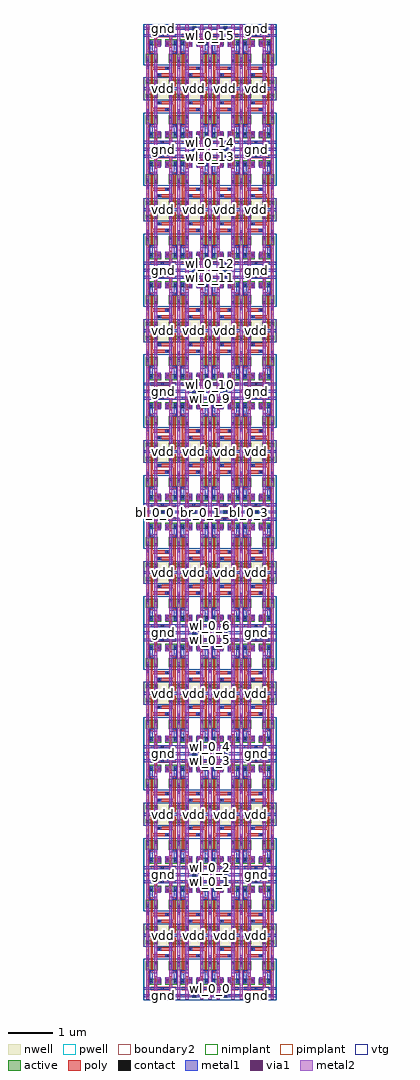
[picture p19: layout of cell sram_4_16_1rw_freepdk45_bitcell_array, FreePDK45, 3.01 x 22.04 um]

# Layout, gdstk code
import gdstk
lib = gdstk.Library(unit=1e-6, precision=5e-10)
def R(c, l, rs):  # rectangles x0, y0, x1, y1
    for r in rs: c.add(gdstk.rectangle(r[:2], r[2:], *l))
def A(c, l, x, y, w, h, nx, ny, dx, dy):  # array of equal rectangles
    R(c, l, [(x+i*dx, y+j*dy, x+i*dx+w, y+j*dy+h) for i in range(nx) for j in range(ny)])
active = (1, 0)
pwell = (2, 0)
nwell = (3, 0)
nimplant = (4, 0)
pimplant = (5, 0)
vtg = (6, 0)
poly = (9, 0)
contact = (10, 0)
metal1 = (11, 0)
via1 = (12, 0)
metal2 = (13, 0)
boundary2 = (239, 0)

cell_1rw = lib.new_cell('cell_1rw')
R(cell_1rw, active, [(0.3025,-0.045,0.3925,0.045), (0.3025,-0.045,0.3925,0.045), (0.045,0.2475,0.12,0.3825), (0.045,0.2475,0.12,0.3825), (0.045,0.2475,0.305,0.3825), (0.23,0.2475,0.305,0.3825), (0.23,0.2475,0.305,0.3825), (0.4,0.2475,0.475,0.3825), (0.4,0.2475,0.475,0.3825), (0.4,0.2475,0.66,0.3825), (0.585,0.2475,0.66,0.3825), (0.585,0.2475,0.66,0.3825), (0.045,0.3075,0.12,0.3825), (0.23,0.3075,0.305,0.3825), (0.4,0.3075,0.475,0.3825), (0.585,0.3075,0.66,0.3825), (-0.04,0.5675,0.225,0.7725), (-0.035,0.5675,0.04,0.7725), (-0.035,0.5675,0.04,0.7725), (0.15,0.5675,0.225,0.7725), (0.15,0.5675,0.225,0.7725), (0.48,0.5675,0.555,0.7725), (0.48,0.5675,0.555,0.7725), (0.48,0.5675,0.745,0.7725), (0.665,0.5675,0.74,0.7725), (0.665,0.5675,0.74,0.7725), (-0.035,0.6975,0.04,0.7725), (0.15,0.6975,0.225,0.7725), (0.48,0.6975,0.555,0.7725), (0.665,0.6975,0.74,0.7725), (-0.04,1.1625,0.225,1.2525), (-0.04,1.1625,0.04,1.2375), (-0.035,1.1625,0.04,1.2525), (-0.035,1.1625,0.04,1.2525), (0.15,1.1625,0.225,1.2375), (0.15,1.1625,0.225,1.2525), (0.15,1.1625,0.225,1.2525), (0.48,1.1625,0.555,1.2375), (0.48,1.1625,0.555,1.2525), (0.48,1.1625,0.555,1.2525), (0.48,1.1625,0.745,1.2525), (0.665,1.1625,0.74,1.2525), (0.665,1.1625,0.74,1.2525), (0.665,1.1625,0.745,1.2375), (0.3025,1.32,0.3925,1.41), (0.3025,1.32,0.3925,1.41)])
R(cell_1rw, pwell, [(-0.095,-0.1,0.8,0.8275), (0.2475,-0.1,0.4475,0.1), (0.2475,-0.08,0.4475,0.12), (-0.01,0.1925,0.36,0.4375), (0.345,0.1925,0.715,0.4375), (-0.09,0.5125,0.28,0.8275), (0.425,0.5125,0.795,0.8275)])
R(cell_1rw, nwell, [(-0.095,1.1075,0.8,1.465), (-0.09,1.1075,0.28,1.3075), (0.425,1.1075,0.795,1.3075), (0.2475,1.265,0.4475,1.465), (0.2475,1.265,0.4475,1.465)])
R(cell_1rw, nimplant, [(0.045,0.2475,0.305,0.3825), (0.4,0.2475,0.66,0.3825), (-0.035,0.5675,0.225,0.7725), (0.48,0.5675,0.74,0.7725), (0.3025,1.32,0.3925,1.41), (0.3025,1.32,0.3925,1.41)])
R(cell_1rw, pimplant, [(0.3025,-0.045,0.3925,0.045), (-0.035,1.1625,0.225,1.2525), (0.48,1.1625,0.74,1.2525)])
R(cell_1rw, vtg, [(-0.09,-0.1,0.795,0.8275), (-0.01,0.1925,0.36,0.4375), (0.345,0.1925,0.715,0.4375), (-0.09,0.5125,0.28,0.8275), (0.425,0.5125,0.795,0.8275), (-0.09,1.1075,0.795,1.465), (-0.09,1.1075,0.28,1.3075), (0.425,1.1075,0.795,1.3075)])
R(cell_1rw, poly, [(0.07,0.1225,0.635,0.1975), (0.2975,0.1225,0.3725,0.1975), (0.15,0.1925,0.2,0.4375), (0.15,0.1925,0.2,0.2475), (0.505,0.1925,0.555,0.4375), (0.505,0.1925,0.555,0.2475), (0.15,0.3825,0.2,0.4375), (0.505,0.3825,0.555,0.4375), (0.07,0.5125,0.12,0.5675), (0.07,0.5125,0.12,0.8275), (0.585,0.5125,0.635,0.5675), (0.585,0.5125,0.635,0.8275), (0.07,0.7725,0.12,0.8275), (0.585,0.7725,0.635,0.8275), (0.07,0.8275,0.12,1.1075), (0.07,0.8275,0.12,1.1075), (0.585,0.8275,0.635,1.1075), (0.585,0.8275,0.635,1.1075), (0.07,0.8625,0.5025,0.9375), (0.4275,0.8625,0.5025,0.9375), (0.4275,0.8625,0.5025,0.9375), (0.2025,1.0125,0.635,1.0875), (0.2025,1.0125,0.2775,1.0875), (0.2025,1.0125,0.2775,1.0875), (0.07,1.1075,0.12,1.1625), (0.07,1.1075,0.12,1.3075), (0.585,1.1075,0.635,1.1625), (0.585,1.1075,0.635,1.3075), (0.07,1.2525,0.12,1.3075), (0.585,1.2525,0.635,1.3075)])
R(cell_1rw, contact, [(0.315,-0.0325,0.38,0.0325), (0.3025,0.1275,0.3675,0.1925), (0.05,0.3125,0.115,0.3775), (0.235,0.3125,0.3,0.3775), (0.405,0.3125,0.47,0.3775), (0.59,0.3125,0.655,0.3775), (-0.0325,0.7025,0.0325,0.7675), (0.155,0.7025,0.22,0.7675), (0.485,0.7025,0.55,0.7675), (0.6725,0.7025,0.7375,0.7675), (0.4325,0.8675,0.4975,0.9325), (0.4325,0.8675,0.4975,0.9325), (0.2075,1.0175,0.2725,1.0825), (0.2075,1.0175,0.2725,1.0825), (-0.0325,1.1675,0.0325,1.2325), (0.155,1.1675,0.22,1.2325), (0.485,1.1675,0.55,1.2325), (0.6725,1.1675,0.7375,1.2325), (0.315,1.3325,0.38,1.3975)])
R(cell_1rw, metal1, [(-0.09,-0.0325,0.795,0.0325), (-0.09,-0.0325,0.795,0.0325), (-0.09,0.1275,0.795,0.1925), (-0.09,0.1275,0.795,0.1925), (0.2675,0.1275,0.4025,0.1925), (-0.085,0.13,-0.0325,0.1925), (0.62,0.13,0.6725,0.1925), (0.05,0.2775,0.12,0.5675), (0.05,0.2775,0.115,0.4125), (0.2225,0.2775,0.2875,0.4125), (0.235,0.2775,0.3,0.4125), (0.405,0.2775,0.47,0.4125), (0.4175,0.2775,0.4825,0.4125), (0.59,0.2775,0.66,0.5675), (0.59,0.2775,0.655,0.4125), (0.05,0.5025,0.22,0.5675), (0.155,0.5025,0.22,1.2425), (0.485,0.5025,0.55,1.1325), (0.485,0.5025,0.66,0.5675), (-0.035,0.6675,0.035,0.8025), (-0.035,0.6675,0.035,0.8025), (-0.03,0.6675,0.035,0.8025), (0.155,0.6675,0.22,0.8025), (0.485,0.6675,0.55,0.8025), (0.67,0.6675,0.74,0.8025), (0.67,0.6675,0.74,0.8025), (0.67,0.6675,0.74,0.8025), (0.67,0.6675,0.74,0.8025), (0.67,0.6675,0.74,0.8025), (0.67,0.6675,0.74,0.8025), (0.67,0.6675,0.735,0.8025), (-0.0325,0.77,0.0325,0.905), (-0.0325,0.77,0.0325,0.905), (-0.0325,0.77,0.0325,0.905), (-0.0325,0.77,0.0325,0.905), (-0.0325,0.77,0.0325,0.905), (-0.0325,0.77,0.0325,0.905), (0.6725,0.77,0.7375,0.905), (0.6725,0.77,0.7375,0.905), (0.6725,0.77,0.7375,0.905), (0.6725,0.77,0.7375,0.905), (0.6725,0.77,0.7375,0.905), (0.6725,0.77,0.7375,0.905), (0.6725,0.77,0.7375,0.905), (0.6725,0.77,0.7375,0.905), (0.6725,0.77,0.7375,0.905), (0.6725,0.77,0.7375,0.905), (0.6725,0.77,0.7375,0.905), (0.6725,0.77,0.7375,0.905), (0.6725,0.77,0.7375,0.905), (0.6725,0.77,0.7375,0.905), (0.6725,0.77,0.7375,0.905), (0.6725,0.77,0.7375,0.905), (0.6725,0.77,0.7375,0.905), (0.6725,0.77,0.7375,0.905), (0.6725,0.77,0.7375,0.905), (0.6725,0.77,0.7375,0.905), (0.6725,0.77,0.7375,0.905), (0.6725,0.77,0.7375,0.905), (0.6725,0.77,0.7375,0.905), (0.6725,0.77,0.7375,0.905), (0.3975,0.8675,0.5325,0.9325), (0.3975,0.8675,0.5325,0.9325), (0.1725,1.0175,0.3075,1.0825), (0.1725,1.0175,0.3075,1.0825), (-0.035,1.1325,0.035,1.3325), (-0.03,1.1325,0.035,1.2675), (0.155,1.1325,0.22,1.2675), (0.485,1.1325,0.55,1.2675), (0.67,1.1325,0.74,1.3325), (0.67,1.1325,0.74,1.3325), (0.67,1.1325,0.735,1.2675), (-0.09,1.3325,0.795,1.3975), (-0.09,1.3325,0.795,1.3975)])
R(cell_1rw, via1, [(-0.0325,-0.0325,0.0325,0.0325), (-0.0325,-0.0325,0.0325,0.0325), (0.6725,-0.0325,0.7375,0.0325), (0.6725,-0.0325,0.7375,0.0325), (0.6725,-0.0325,0.7375,0.0325), (0.6725,-0.0325,0.7375,0.0325), (0.2225,0.3125,0.2875,0.3775), (0.4175,0.3125,0.4825,0.3775), (-0.0325,0.805,0.0325,0.87), (-0.0325,0.805,0.0325,0.87), (-0.0325,0.805,0.0325,0.87), (-0.0325,0.805,0.0325,0.87), (-0.0325,0.805,0.0325,0.87), (-0.0325,0.805,0.0325,0.87), (0.6725,0.805,0.7375,0.87), (0.6725,0.805,0.7375,0.87), (0.6725,0.805,0.7375,0.87), (0.6725,0.805,0.7375,0.87), (0.6725,0.805,0.7375,0.87), (0.6725,0.805,0.7375,0.87), (0.6725,0.805,0.7375,0.87), (0.6725,0.805,0.7375,0.87), (0.6725,0.805,0.7375,0.87), (0.6725,0.805,0.7375,0.87), (0.6725,0.805,0.7375,0.87), (0.6725,0.805,0.7375,0.87), (0.6725,0.805,0.7375,0.87), (0.6725,0.805,0.7375,0.87), (0.6725,0.805,0.7375,0.87), (0.6725,0.805,0.7375,0.87), (0.6725,0.805,0.7375,0.87), (0.6725,0.805,0.7375,0.87), (0.6725,0.805,0.7375,0.87), (0.6725,0.805,0.7375,0.87), (0.6725,0.805,0.7375,0.87), (0.6725,0.805,0.7375,0.87), (0.6725,0.805,0.7375,0.87), (0.6725,0.805,0.7375,0.87)])
R(cell_1rw, metal2, [(-0.035,-0.08,0.035,1.465), (0.15,-0.08,0.22,1.465), (0.15,-0.08,0.22,1.465), (0.485,-0.08,0.555,1.465), (0.485,-0.08,0.555,1.465), (0.67,-0.08,0.74,1.465), (0.4925,-0.0325,0.55,0.0275), (-0.03,-0.03,0.03,0.0275), (0.1575,-0.025,0.2125,0.0275), (0.675,-0.025,0.735,0.0325), (0.67,-0.0125,0.74,1.3975), (0.22,0.2775,0.29,0.4125), (0.415,0.2775,0.485,0.4125), (-0.035,0.77,0.035,0.905), (-0.035,0.77,0.035,0.905), (-0.035,0.77,0.035,0.905), (-0.035,0.77,0.035,0.905), (-0.035,0.77,0.035,0.905), (-0.035,0.77,0.035,0.905), (0.67,0.77,0.74,0.905), (0.67,0.77,0.74,0.905), (0.67,0.77,0.74,0.905), (0.67,0.77,0.74,0.905), (0.67,0.77,0.74,0.905), (0.67,0.77,0.74,0.905), (0.67,0.77,0.74,0.905), (0.67,0.77,0.74,0.905), (0.67,0.77,0.74,0.905), (0.67,0.77,0.74,0.905), (0.67,0.77,0.74,0.905), (0.67,0.77,0.74,0.905), (0.67,0.77,0.74,0.905), (0.67,0.77,0.74,0.905), (0.67,0.77,0.74,0.905), (0.67,0.77,0.74,0.905), (0.67,0.77,0.74,0.905), (0.67,0.77,0.74,0.905), (0.67,0.77,0.74,0.905), (0.67,0.77,0.74,0.905), (0.67,0.77,0.74,0.905), (0.67,0.77,0.74,0.905), (0.67,0.77,0.74,0.905), (0.67,0.77,0.74,0.905)])
R(cell_1rw, boundary2, [(0,0.02,0.705,1.365)])
cell_1rw.add(gdstk.Label('gnd', (0.345,0), layer=11, texttype=0))
cell_1rw.add(gdstk.Label('vdd', (0.345,1.365), layer=11, texttype=0))
cell_1rw.add(gdstk.Label('Q_bar', (0.625,0.48), layer=11, texttype=0))
cell_1rw.add(gdstk.Label('Q', (0.0825,0.46), layer=11, texttype=0))
cell_1rw.add(gdstk.Label('wl', (-0.05,0.167), layer=11, texttype=0))
cell_1rw.add(gdstk.Label('bl', (0.19,0.003), layer=13, texttype=0))
cell_1rw.add(gdstk.Label('br', (0.52,0.003), layer=13, texttype=0))
cell_1rw.add(gdstk.Label('bl', (0.185,0.6925), layer=13, texttype=0))
cell_1rw.add(gdstk.Label('br', (0.52,0.6925), layer=13, texttype=0))
cell_1rw.add(gdstk.Label('wl', (0.3525,0.16), layer=11, texttype=0))
cell_1rw.add(gdstk.Label('vdd', (0.3525,1.365), layer=11, texttype=0))
cell_1rw.add(gdstk.Label('gnd', (0.3525,0), layer=11, texttype=0))

sram_4_16_1rw_freepdk45_ = lib.new_cell('sram_4_16_1rw_freepdk45_bitcell_array')
A(sram_4_16_1rw_freepdk45_, metal1, -0.09, -0.0325, 0.885, 0.065, 4, 17, 0.705, 1.365)
R(sram_4_16_1rw_freepdk45_, metal1, [(0,0.1275,2.82,0.1925), (0,2.5375,2.82,2.6025), (0,2.8575,2.82,2.9225), (0,5.2675,2.82,5.3325), (0,5.5875,2.82,5.6525), (0,7.9975,2.82,8.0625), (0,8.3175,2.82,8.3825), (0,10.7275,2.82,10.7925), (0,11.0475,2.82,11.1125), (0,13.4575,2.82,13.5225), (0,13.7775,2.82,13.8425), (0,16.1875,2.82,16.2525), (0,16.5075,2.82,16.5725), (0,18.9175,2.82,18.9825), (0,19.2375,2.82,19.3025), (0,21.6475,2.82,21.7125)])
R(sram_4_16_1rw_freepdk45_, metal2, [(0.15,0,0.22,21.84), (0.485,0,0.555,21.84), (0.855,0,0.925,21.84), (1.19,0,1.26,21.84), (1.56,0,1.63,21.84), (1.895,0,1.965,21.84), (2.265,0,2.335,21.84), (2.6,0,2.67,21.84)])
R(sram_4_16_1rw_freepdk45_, boundary2, [(0,0,2.82,21.84)])
sram_4_16_1rw_freepdk45_.add(gdstk.Reference(cell_1rw, (0,0)))
sram_4_16_1rw_freepdk45_.add(gdstk.Reference(cell_1rw, (0,2.73), x_reflection=True))
sram_4_16_1rw_freepdk45_.add(gdstk.Reference(cell_1rw, (0,2.73)))
sram_4_16_1rw_freepdk45_.add(gdstk.Reference(cell_1rw, (0,5.46), x_reflection=True))
sram_4_16_1rw_freepdk45_.add(gdstk.Reference(cell_1rw, (0,5.46)))
sram_4_16_1rw_freepdk45_.add(gdstk.Reference(cell_1rw, (0,8.19), x_reflection=True))
sram_4_16_1rw_freepdk45_.add(gdstk.Reference(cell_1rw, (0,8.19)))
sram_4_16_1rw_freepdk45_.add(gdstk.Reference(cell_1rw, (0,10.92), x_reflection=True))
sram_4_16_1rw_freepdk45_.add(gdstk.Reference(cell_1rw, (0,10.92)))
sram_4_16_1rw_freepdk45_.add(gdstk.Reference(cell_1rw, (0,13.65), x_reflection=True))
sram_4_16_1rw_freepdk45_.add(gdstk.Reference(cell_1rw, (0,13.65)))
sram_4_16_1rw_freepdk45_.add(gdstk.Reference(cell_1rw, (0,16.38), x_reflection=True))
sram_4_16_1rw_freepdk45_.add(gdstk.Reference(cell_1rw, (0,16.38)))
sram_4_16_1rw_freepdk45_.add(gdstk.Reference(cell_1rw, (0,19.11), x_reflection=True))
sram_4_16_1rw_freepdk45_.add(gdstk.Reference(cell_1rw, (0,19.11)))
sram_4_16_1rw_freepdk45_.add(gdstk.Reference(cell_1rw, (0,21.84), x_reflection=True))
sram_4_16_1rw_freepdk45_.add(gdstk.Reference(cell_1rw, (0.705,0)))
sram_4_16_1rw_freepdk45_.add(gdstk.Reference(cell_1rw, (0.705,2.73), x_reflection=True))
sram_4_16_1rw_freepdk45_.add(gdstk.Reference(cell_1rw, (0.705,2.73)))
sram_4_16_1rw_freepdk45_.add(gdstk.Reference(cell_1rw, (0.705,5.46), x_reflection=True))
sram_4_16_1rw_freepdk45_.add(gdstk.Reference(cell_1rw, (0.705,5.46)))
sram_4_16_1rw_freepdk45_.add(gdstk.Reference(cell_1rw, (0.705,8.19), x_reflection=True))
sram_4_16_1rw_freepdk45_.add(gdstk.Reference(cell_1rw, (0.705,8.19)))
sram_4_16_1rw_freepdk45_.add(gdstk.Reference(cell_1rw, (0.705,10.92), x_reflection=True))
sram_4_16_1rw_freepdk45_.add(gdstk.Reference(cell_1rw, (0.705,10.92)))
sram_4_16_1rw_freepdk45_.add(gdstk.Reference(cell_1rw, (0.705,13.65), x_reflection=True))
sram_4_16_1rw_freepdk45_.add(gdstk.Reference(cell_1rw, (0.705,13.65)))
sram_4_16_1rw_freepdk45_.add(gdstk.Reference(cell_1rw, (0.705,16.38), x_reflection=True))
sram_4_16_1rw_freepdk45_.add(gdstk.Reference(cell_1rw, (0.705,16.38)))
sram_4_16_1rw_freepdk45_.add(gdstk.Reference(cell_1rw, (0.705,19.11), x_reflection=True))
sram_4_16_1rw_freepdk45_.add(gdstk.Reference(cell_1rw, (0.705,19.11)))
sram_4_16_1rw_freepdk45_.add(gdstk.Reference(cell_1rw, (0.705,21.84), x_reflection=True))
sram_4_16_1rw_freepdk45_.add(gdstk.Reference(cell_1rw, (1.41,0)))
sram_4_16_1rw_freepdk45_.add(gdstk.Reference(cell_1rw, (1.41,2.73), x_reflection=True))
sram_4_16_1rw_freepdk45_.add(gdstk.Reference(cell_1rw, (1.41,2.73)))
sram_4_16_1rw_freepdk45_.add(gdstk.Reference(cell_1rw, (1.41,5.46), x_reflection=True))
sram_4_16_1rw_freepdk45_.add(gdstk.Reference(cell_1rw, (1.41,5.46)))
sram_4_16_1rw_freepdk45_.add(gdstk.Reference(cell_1rw, (1.41,8.19), x_reflection=True))
sram_4_16_1rw_freepdk45_.add(gdstk.Reference(cell_1rw, (1.41,8.19)))
sram_4_16_1rw_freepdk45_.add(gdstk.Reference(cell_1rw, (1.41,10.92), x_reflection=True))
sram_4_16_1rw_freepdk45_.add(gdstk.Reference(cell_1rw, (1.41,10.92)))
sram_4_16_1rw_freepdk45_.add(gdstk.Reference(cell_1rw, (1.41,13.65), x_reflection=True))
sram_4_16_1rw_freepdk45_.add(gdstk.Reference(cell_1rw, (1.41,13.65)))
sram_4_16_1rw_freepdk45_.add(gdstk.Reference(cell_1rw, (1.41,16.38), x_reflection=True))
sram_4_16_1rw_freepdk45_.add(gdstk.Reference(cell_1rw, (1.41,16.38)))
sram_4_16_1rw_freepdk45_.add(gdstk.Reference(cell_1rw, (1.41,19.11), x_reflection=True))
sram_4_16_1rw_freepdk45_.add(gdstk.Reference(cell_1rw, (1.41,19.11)))
sram_4_16_1rw_freepdk45_.add(gdstk.Reference(cell_1rw, (1.41,21.84), x_reflection=True))
sram_4_16_1rw_freepdk45_.add(gdstk.Reference(cell_1rw, (2.115,0)))
sram_4_16_1rw_freepdk45_.add(gdstk.Reference(cell_1rw, (2.115,2.73), x_reflection=True))
sram_4_16_1rw_freepdk45_.add(gdstk.Reference(cell_1rw, (2.115,2.73)))
sram_4_16_1rw_freepdk45_.add(gdstk.Reference(cell_1rw, (2.115,5.46), x_reflection=True))
sram_4_16_1rw_freepdk45_.add(gdstk.Reference(cell_1rw, (2.115,5.46)))
sram_4_16_1rw_freepdk45_.add(gdstk.Reference(cell_1rw, (2.115,8.19), x_reflection=True))
sram_4_16_1rw_freepdk45_.add(gdstk.Reference(cell_1rw, (2.115,8.19)))
sram_4_16_1rw_freepdk45_.add(gdstk.Reference(cell_1rw, (2.115,10.92), x_reflection=True))
sram_4_16_1rw_freepdk45_.add(gdstk.Reference(cell_1rw, (2.115,10.92)))
sram_4_16_1rw_freepdk45_.add(gdstk.Reference(cell_1rw, (2.115,13.65), x_reflection=True))
sram_4_16_1rw_freepdk45_.add(gdstk.Reference(cell_1rw, (2.115,13.65)))
sram_4_16_1rw_freepdk45_.add(gdstk.Reference(cell_1rw, (2.115,16.38), x_reflection=True))
sram_4_16_1rw_freepdk45_.add(gdstk.Reference(cell_1rw, (2.115,16.38)))
sram_4_16_1rw_freepdk45_.add(gdstk.Reference(cell_1rw, (2.115,19.11), x_reflection=True))
sram_4_16_1rw_freepdk45_.add(gdstk.Reference(cell_1rw, (2.115,19.11)))
sram_4_16_1rw_freepdk45_.add(gdstk.Reference(cell_1rw, (2.115,21.84), x_reflection=True))
sram_4_16_1rw_freepdk45_.add(gdstk.Label('bl_0_0', (0.185,10.92), layer=13, texttype=0))
sram_4_16_1rw_freepdk45_.add(gdstk.Label('br_0_0', (0.52,10.92), layer=13, texttype=0))
sram_4_16_1rw_freepdk45_.add(gdstk.Label('bl_0_1', (0.89,10.92), layer=13, texttype=0))
sram_4_16_1rw_freepdk45_.add(gdstk.Label('br_0_1', (1.225,10.92), layer=13, texttype=0))
sram_4_16_1rw_freepdk45_.add(gdstk.Label('bl_0_2', (1.595,10.92), layer=13, texttype=0))
sram_4_16_1rw_freepdk45_.add(gdstk.Label('br_0_2', (1.93,10.92), layer=13, texttype=0))
sram_4_16_1rw_freepdk45_.add(gdstk.Label('bl_0_3', (2.3,10.92), layer=13, texttype=0))
sram_4_16_1rw_freepdk45_.add(gdstk.Label('br_0_3', (2.635,10.92), layer=13, texttype=0))
sram_4_16_1rw_freepdk45_.add(gdstk.Label('wl_0_0', (1.41,0.16), layer=11, texttype=0))
sram_4_16_1rw_freepdk45_.add(gdstk.Label('wl_0_1', (1.41,2.57), layer=11, texttype=0))
sram_4_16_1rw_freepdk45_.add(gdstk.Label('wl_0_2', (1.41,2.89), layer=11, texttype=0))
sram_4_16_1rw_freepdk45_.add(gdstk.Label('wl_0_3', (1.41,5.3), layer=11, texttype=0))
sram_4_16_1rw_freepdk45_.add(gdstk.Label('wl_0_4', (1.41,5.62), layer=11, texttype=0))
sram_4_16_1rw_freepdk45_.add(gdstk.Label('wl_0_5', (1.41,8.03), layer=11, texttype=0))
sram_4_16_1rw_freepdk45_.add(gdstk.Label('wl_0_6', (1.41,8.35), layer=11, texttype=0))
sram_4_16_1rw_freepdk45_.add(gdstk.Label('wl_0_7', (1.41,10.76), layer=11, texttype=0))
sram_4_16_1rw_freepdk45_.add(gdstk.Label('wl_0_8', (1.41,11.08), layer=11, texttype=0))
sram_4_16_1rw_freepdk45_.add(gdstk.Label('wl_0_9', (1.41,13.49), layer=11, texttype=0))
sram_4_16_1rw_freepdk45_.add(gdstk.Label('wl_0_10', (1.41,13.81), layer=11, texttype=0))
sram_4_16_1rw_freepdk45_.add(gdstk.Label('wl_0_11', (1.41,16.22), layer=11, texttype=0))
sram_4_16_1rw_freepdk45_.add(gdstk.Label('wl_0_12', (1.41,16.54), layer=11, texttype=0))
sram_4_16_1rw_freepdk45_.add(gdstk.Label('wl_0_13', (1.41,18.95), layer=11, texttype=0))
sram_4_16_1rw_freepdk45_.add(gdstk.Label('wl_0_14', (1.41,19.27), layer=11, texttype=0))
sram_4_16_1rw_freepdk45_.add(gdstk.Label('wl_0_15', (1.41,21.68), layer=11, texttype=0))
sram_4_16_1rw_freepdk45_.add(gdstk.Label('vdd', (1.7625,20.475), layer=11, texttype=0))
sram_4_16_1rw_freepdk45_.add(gdstk.Label('vdd', (0.3525,6.825), layer=11, texttype=0))
sram_4_16_1rw_freepdk45_.add(gdstk.Label('vdd', (2.4675,1.365), layer=11, texttype=0))
sram_4_16_1rw_freepdk45_.add(gdstk.Label('vdd', (0.3525,9.555), layer=11, texttype=0))
sram_4_16_1rw_freepdk45_.add(gdstk.Label('vdd', (0.3525,15.015), layer=11, texttype=0))
sram_4_16_1rw_freepdk45_.add(gdstk.Label('vdd', (1.0575,9.555), layer=11, texttype=0))
sram_4_16_1rw_freepdk45_.add(gdstk.Label('vdd', (1.0575,15.015), layer=11, texttype=0))
sram_4_16_1rw_freepdk45_.add(gdstk.Label('vdd', (1.0575,17.745), layer=11, texttype=0))
sram_4_16_1rw_freepdk45_.add(gdstk.Label('vdd', (2.4675,9.555), layer=11, texttype=0))
sram_4_16_1rw_freepdk45_.add(gdstk.Label('vdd', (0.3525,4.095), layer=11, texttype=0))
sram_4_16_1rw_freepdk45_.add(gdstk.Label('vdd', (1.0575,6.825), layer=11, texttype=0))
sram_4_16_1rw_freepdk45_.add(gdstk.Label('vdd', (1.7625,1.365), layer=11, texttype=0))
sram_4_16_1rw_freepdk45_.add(gdstk.Label('vdd', (0.3525,1.365), layer=11, texttype=0))
sram_4_16_1rw_freepdk45_.add(gdstk.Label('vdd', (1.7625,15.015), layer=11, texttype=0))
sram_4_16_1rw_freepdk45_.add(gdstk.Label('vdd', (1.0575,1.365), layer=11, texttype=0))
sram_4_16_1rw_freepdk45_.add(gdstk.Label('vdd', (0.3525,17.745), layer=11, texttype=0))
sram_4_16_1rw_freepdk45_.add(gdstk.Label('vdd', (2.4675,4.095), layer=11, texttype=0))
sram_4_16_1rw_freepdk45_.add(gdstk.Label('vdd', (2.4675,20.475), layer=11, texttype=0))
sram_4_16_1rw_freepdk45_.add(gdstk.Label('vdd', (0.3525,20.475), layer=11, texttype=0))
sram_4_16_1rw_freepdk45_.add(gdstk.Label('vdd', (2.4675,12.285), layer=11, texttype=0))
sram_4_16_1rw_freepdk45_.add(gdstk.Label('vdd', (2.4675,6.825), layer=11, texttype=0))
sram_4_16_1rw_freepdk45_.add(gdstk.Label('vdd', (1.7625,9.555), layer=11, texttype=0))
sram_4_16_1rw_freepdk45_.add(gdstk.Label('vdd', (1.7625,17.745), layer=11, texttype=0))
sram_4_16_1rw_freepdk45_.add(gdstk.Label('vdd', (2.4675,15.015), layer=11, texttype=0))
sram_4_16_1rw_freepdk45_.add(gdstk.Label('vdd', (1.0575,12.285), layer=11, texttype=0))
sram_4_16_1rw_freepdk45_.add(gdstk.Label('vdd', (1.7625,6.825), layer=11, texttype=0))
sram_4_16_1rw_freepdk45_.add(gdstk.Label('vdd', (1.7625,4.095), layer=11, texttype=0))
sram_4_16_1rw_freepdk45_.add(gdstk.Label('vdd', (0.3525,12.285), layer=11, texttype=0))
sram_4_16_1rw_freepdk45_.add(gdstk.Label('vdd', (1.7625,12.285), layer=11, texttype=0))
sram_4_16_1rw_freepdk45_.add(gdstk.Label('vdd', (1.0575,20.475), layer=11, texttype=0))
sram_4_16_1rw_freepdk45_.add(gdstk.Label('vdd', (1.0575,4.095), layer=11, texttype=0))
sram_4_16_1rw_freepdk45_.add(gdstk.Label('vdd', (2.4675,17.745), layer=11, texttype=0))
sram_4_16_1rw_freepdk45_.add(gdstk.Label('gnd', (0.3525,2.73), layer=11, texttype=0))
sram_4_16_1rw_freepdk45_.add(gdstk.Label('gnd', (2.4675,5.46), layer=11, texttype=0))
sram_4_16_1rw_freepdk45_.add(gdstk.Label('gnd', (0.3525,8.19), layer=11, texttype=0))
sram_4_16_1rw_freepdk45_.add(gdstk.Label('gnd', (2.4675,8.19), layer=11, texttype=0))
sram_4_16_1rw_freepdk45_.add(gdstk.Label('gnd', (1.0575,5.46), layer=11, texttype=0))
sram_4_16_1rw_freepdk45_.add(gdstk.Label('gnd', (1.7625,19.11), layer=11, texttype=0))
sram_4_16_1rw_freepdk45_.add(gdstk.Label('gnd', (1.0575,19.11), layer=11, texttype=0))
sram_4_16_1rw_freepdk45_.add(gdstk.Label('gnd', (1.7625,13.65), layer=11, texttype=0))
sram_4_16_1rw_freepdk45_.add(gdstk.Label('gnd', (2.4675,10.92), layer=11, texttype=0))
sram_4_16_1rw_freepdk45_.add(gdstk.Label('gnd', (2.4675,13.65), layer=11, texttype=0))
sram_4_16_1rw_freepdk45_.add(gdstk.Label('gnd', (2.4675,2.73), layer=11, texttype=0))
sram_4_16_1rw_freepdk45_.add(gdstk.Label('gnd', (2.4675,21.84), layer=11, texttype=0))
sram_4_16_1rw_freepdk45_.add(gdstk.Label('gnd', (1.0575,0), layer=11, texttype=0))
sram_4_16_1rw_freepdk45_.add(gdstk.Label('gnd', (2.4675,19.11), layer=11, texttype=0))
sram_4_16_1rw_freepdk45_.add(gdstk.Label('gnd', (1.0575,2.73), layer=11, texttype=0))
sram_4_16_1rw_freepdk45_.add(gdstk.Label('gnd', (1.0575,10.92), layer=11, texttype=0))
sram_4_16_1rw_freepdk45_.add(gdstk.Label('gnd', (1.0575,13.65), layer=11, texttype=0))
sram_4_16_1rw_freepdk45_.add(gdstk.Label('gnd', (1.7625,10.92), layer=11, texttype=0))
sram_4_16_1rw_freepdk45_.add(gdstk.Label('gnd', (1.0575,16.38), layer=11, texttype=0))
sram_4_16_1rw_freepdk45_.add(gdstk.Label('gnd', (0.3525,0), layer=11, texttype=0))
sram_4_16_1rw_freepdk45_.add(gdstk.Label('gnd', (0.3525,19.11), layer=11, texttype=0))
sram_4_16_1rw_freepdk45_.add(gdstk.Label('gnd', (0.3525,21.84), layer=11, texttype=0))
sram_4_16_1rw_freepdk45_.add(gdstk.Label('gnd', (0.3525,10.92), layer=11, texttype=0))
sram_4_16_1rw_freepdk45_.add(gdstk.Label('gnd', (1.7625,8.19), layer=11, texttype=0))
sram_4_16_1rw_freepdk45_.add(gdstk.Label('gnd', (1.0575,8.19), layer=11, texttype=0))
sram_4_16_1rw_freepdk45_.add(gdstk.Label('gnd', (2.4675,16.38), layer=11, texttype=0))
sram_4_16_1rw_freepdk45_.add(gdstk.Label('gnd', (0.3525,16.38), layer=11, texttype=0))
sram_4_16_1rw_freepdk45_.add(gdstk.Label('gnd', (0.3525,13.65), layer=11, texttype=0))
sram_4_16_1rw_freepdk45_.add(gdstk.Label('gnd', (2.4675,0), layer=11, texttype=0))
sram_4_16_1rw_freepdk45_.add(gdstk.Label('gnd', (0.3525,5.46), layer=11, texttype=0))
sram_4_16_1rw_freepdk45_.add(gdstk.Label('gnd', (1.7625,5.46), layer=11, texttype=0))
sram_4_16_1rw_freepdk45_.add(gdstk.Label('gnd', (1.0575,21.84), layer=11, texttype=0))
sram_4_16_1rw_freepdk45_.add(gdstk.Label('gnd', (1.7625,0), layer=11, texttype=0))
sram_4_16_1rw_freepdk45_.add(gdstk.Label('gnd', (1.7625,2.73), layer=11, texttype=0))
sram_4_16_1rw_freepdk45_.add(gdstk.Label('gnd', (1.7625,21.84), layer=11, texttype=0))
sram_4_16_1rw_freepdk45_.add(gdstk.Label('gnd', (1.7625,16.38), layer=11, texttype=0))

lib.write_gds('sram_4_16_1rw_freepdk45_bitcell_array.gds')
